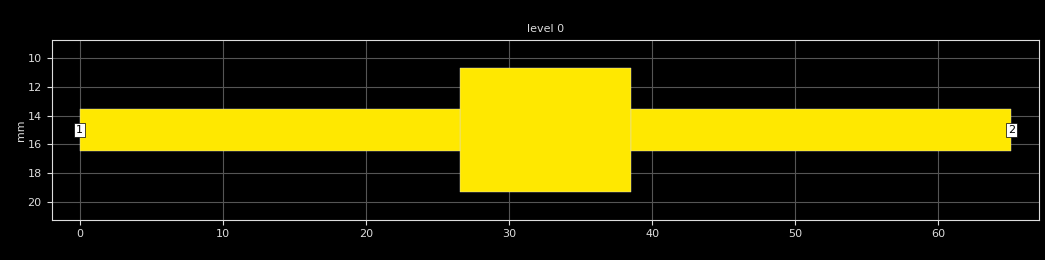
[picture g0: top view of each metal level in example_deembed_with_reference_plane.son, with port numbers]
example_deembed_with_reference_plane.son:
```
FTYP SONPROJ 16 ! Sonnet Project File
VER 16.54
HEADER
LIC kasetsartu2.2.49416 d481d7fa7bfe DESKTOP-H691NT8 KU-ICTES
DAT 02/12/2021 10:25:36
BUILT_BY_CREATED xgeom 15.53-Lite 02/03/2021 22:17:02
BUILT_BY_SAVED xgeom 16.56
MDATE 02/12/2021 10:25:36
HDATE 02/12/2021 10:25:36
END HEADER
DIM
FREQ GHZ
IND NH
LNG MM
ANG DEG
CON /OH
CAP PF
RES OH
END DIM
FREQ
SIMPLE 0.1
END FREQ
CONTROL
SIMPLE
OPTIONS  -d 
SPEED 0
CACHE_ABS 1
TARG_ABS 300
Q_ACC N
END CONTROL
GEO
SYM
DRP1 LEFT FIX 26.6
DRP1 RIGHT FIX 26.6
TMET "Lossless" 0 SUP 0 0 0 0
BMET "Lossless" 0 SUP 0 0 0 0
MET "Copper" 1 NOR 58000000 0 0.035 
BOX 1 65.1 30 1302 600 20 0
      16 1 1 0 0 0 0 "AIR"
      1.6 4.4 1 0.02 0 0 0 "FR-4"
LORGN 0 30 U 
POR1 STD
POLY 13 1
3
1 50 0 0 0 -3.469446952e-016 15 
POR1 STD
POLY 15 1
1
2 50 0 0 0 65.10000038 15 
NUM 3
0 5 0 N 12 1 1 100 100 0 0 0 Y
26.60000019 10.69999981
38.49999981 10.69999981
38.49999981 19.30000019
26.60000019 19.30000019
26.60000019 10.69999981
END
0 5 0 N 13 1 1 100 100 0 0 0 Y
-3.469446952e-016 13.5
26.60000038 13.5
26.60000038 16.5
-3.469446952e-016 16.5
-3.469446952e-016 13.5
END
0 5 0 N 15 1 1 100 100 0 0 0 Y
38.5 13.5
65.10000038 13.5
65.10000038 16.5
38.5 16.5
38.5 13.5
END
END GEO
OPT
MAX 100
VARS
END
END OPT
VARSWP
END VARSWP
QSG
IMPORT NO
EXTRA_METAL NO
UNITS YES
ALIGN NO
REF NO
VIEW_RES NO
METALS NO
USED NO
END QSG
```
